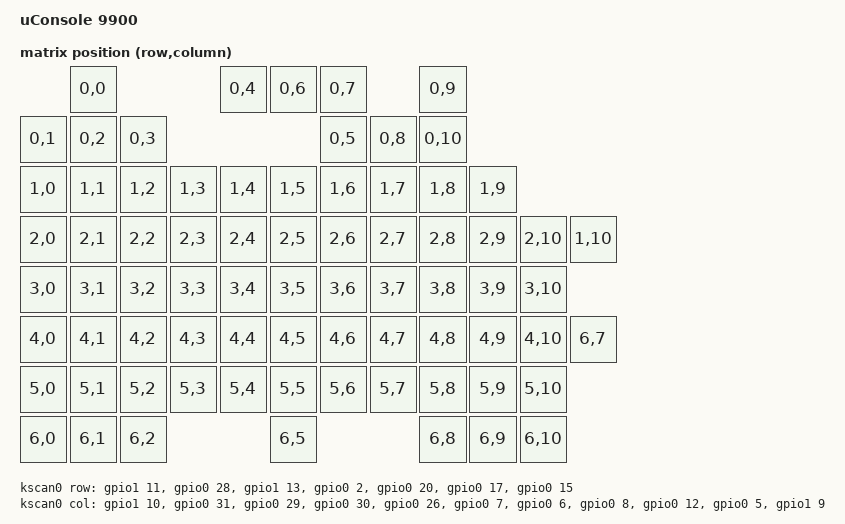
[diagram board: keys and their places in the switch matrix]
/*
 * Copyright (c) 2023 ZitaoTech
 * Copyright (c) 2026 The uc9900 contributors
 * SPDX-License-Identifier: MIT
 */

/dts-v1/;
#include <nordic/nrf52840_qiaa.dtsi>

#include <dt-bindings/led/led.h>
#include <dt-bindings/zmk/matrix_transform.h>
#include <dt-bindings/zmk/input_transform.h>
#include <input/processors.dtsi>

#include "bb9900-pinctrl.dtsi"
#include "bb9900-layouts.dtsi"

/ {
    model = "uConsole 9900";
    compatible = "zitaotech,bb9900";

    chosen {
        zephyr,code-partition = &code_partition;
        zephyr,sram = &sram0;
        zephyr,flash = &flash0;
        zmk,battery = &vbatt;
        zmk,kscan = &kscan0;
        zmk,physical-layout = &bb9900_layout;
        zmk,backlight = &backlight;
        zitaotech,layer-indicator = &indi_led_indicator;
        zitaotech,capslock-indicator = &indi_capslock_indicator;
    };

    // Trackpad backlight, also used as the Caps Lock indicator by the stock firmware.
    indi_capslock_indicator: pwmledo {
        compatible = "pwm-leds";
        pwm_led_0 {
            pwms = <&pwm2 0 PWM_USEC(20) PWM_POLARITY_NORMAL>;
        };
    };

    // Big-button backlight, used as the layer indicator.
    indi_led_indicator: pwmledt {
        compatible = "pwm-leds";
        pwm_led_0 {
            pwms = <&pwm0 0 PWM_USEC(20) PWM_POLARITY_NORMAL>;
        };
    };

    // Keyboard backlight.
    backlight: pwmleds {
        compatible = "pwm-leds";
        pwm_led_0 {
            pwms = <&pwm1 0 PWM_MSEC(10) PWM_POLARITY_NORMAL>;
        };
    };

    default_transform: keymap_transform_0 {
        compatible = "zmk,matrix-transform";
        columns = <11>;
        rows = <7>;
        map = <
         RC(0,0)               RC(0,4)    RC(0,6)    RC(0,7)  RC(0,9)
RC(0,1) RC(0,2)  RC(0,3)        RC(0,5)                RC(0,8)  RC(0,10)
RC(1,0)  RC(1,1) RC(1,2) RC(1,3) RC(1,4) RC(1,5) RC(1,6) RC(1,7) RC(1,8)  RC(1,9)
RC(2,0)  RC(2,1) RC(2,2) RC(2,3) RC(2,4) RC(2,5) RC(2,6) RC(2,7) RC(2,8)  RC(2,9) RC(2,10) RC(1,10)
RC(3,0)  RC(3,1) RC(3,2) RC(3,3) RC(3,4) RC(3,5) RC(3,6) RC(3,7) RC(3,8)  RC(3,9) RC(3,10)
RC(4,0)  RC(4,1) RC(4,2) RC(4,3) RC(4,4) RC(4,5) RC(4,6) RC(4,7) RC(4,8)  RC(4,9) RC(4,10) RC(6,7)
RC(5,0)  RC(5,1) RC(5,2) RC(5,3) RC(5,4) RC(5,5) RC(5,6) RC(5,7) RC(5,8)  RC(5,9) RC(5,10)
RC(6,0)  RC(6,1) RC(6,2)                 RC(6,5)                 RC(6,8)  RC(6,9) RC(6,10)
        >;
    };

    kscan0: kscan {
        compatible = "zmk,kscan-gpio-matrix";
        diode-direction = "col2row";
        row-gpios
            = <&gpio1 11 (GPIO_ACTIVE_HIGH | GPIO_PULL_DOWN)>
            , <&gpio0 28 (GPIO_ACTIVE_HIGH | GPIO_PULL_DOWN)>
            , <&gpio1 13 (GPIO_ACTIVE_HIGH | GPIO_PULL_DOWN)>
            , <&gpio0 2  (GPIO_ACTIVE_HIGH | GPIO_PULL_DOWN)>
            , <&gpio0 20 (GPIO_ACTIVE_HIGH | GPIO_PULL_DOWN)>
            , <&gpio0 17 (GPIO_ACTIVE_HIGH | GPIO_PULL_DOWN)>
            , <&gpio0 15 (GPIO_ACTIVE_HIGH | GPIO_PULL_DOWN)>
            ;
        col-gpios
            = <&gpio1 10 GPIO_ACTIVE_HIGH>
            , <&gpio0 31 GPIO_ACTIVE_HIGH>
            , <&gpio0 29 GPIO_ACTIVE_HIGH>
            , <&gpio0 30 GPIO_ACTIVE_HIGH>
            , <&gpio0 26 GPIO_ACTIVE_HIGH>
            , <&gpio0 7  GPIO_ACTIVE_HIGH>
            , <&gpio0 6  GPIO_ACTIVE_HIGH>
            , <&gpio0 8  GPIO_ACTIVE_HIGH>
            , <&gpio0 12 GPIO_ACTIVE_HIGH>
            , <&gpio0 5  GPIO_ACTIVE_HIGH>
            , <&gpio1 9  GPIO_ACTIVE_HIGH>
            ;
    };

    // Node name must match original "EXT_POWER" label to preserve user settings.
    ext_power_supply: EXT_POWER {
        compatible = "zmk,ext-power-generic";
        control-gpios = <&gpio0 13 GPIO_ACTIVE_LOW>;
    };

    vbatt: vbatt {
        compatible = "zmk,battery-voltage-divider";
        io-channels = <&adc 2>;
        output-ohms = <2000000>;
        full-ohms = <(2000000 + 820000)>;
    };

    // The stock firmware scrolls instead of moving the pointer while the host
    // reports Caps Lock or Scroll Lock. Kept for compatibility.
    scroll_mode: scroll_mode {
        compatible = "zitaotech,input-processor-scroll-mode";
        #input-processor-cells = <0>;
    };

    // The sensor is mounted rotated, so swap the axes. The 3/2 scaler keeps the
    // stock firmware's 1.5x pointer speed.
    trackpad_listener: trackpad_listener {
        compatible = "zmk,input-listener";
        device = <&trackpad>;
        input-processors = <&zip_xy_transform INPUT_TRANSFORM_XY_SWAP>,
                           <&scroll_mode>,
                           <&zip_xy_scaler 3 2>;
    };
};

// P0.09 and P0.10 drive the keyboard and trackpad backlights.
&uicr {
    nfct-pins-as-gpios;
};

&adc {
    status = "okay";
};

&gpiote {
    status = "okay";
};

&gpio0 {
    status = "okay";
};

&gpio1 {
    status = "okay";
};

&i2c0 {
    compatible = "nordic,nrf-twim";
    status = "okay";
    clock-frequency = <I2C_BITRATE_FAST>;
    pinctrl-0 = <&i2c0_default>;
    pinctrl-1 = <&i2c0_sleep>;
    pinctrl-names = "default", "sleep";

    trackpad: a320@3b {
        compatible = "avago,a320";
        reg = <0x3b>;
        polling-interval-ms = <10>;
        motion-polling-interval-ms = <4>;
        idle-polling-interval-ms = <25>;
        ext-power = <&ext_power_supply>;
    };
};

&pwm0 {
    status = "okay";
    pinctrl-0 = <&pwm0_default>;
    pinctrl-1 = <&pwm0_sleep>;
    pinctrl-names = "default", "sleep";
};

&pwm1 {
    status = "okay";
    pinctrl-0 = <&pwm1_default>;
    pinctrl-1 = <&pwm1_sleep>;
    pinctrl-names = "default", "sleep";
};

&pwm2 {
    status = "okay";
    pinctrl-0 = <&pwm2_default>;
    pinctrl-1 = <&pwm2_sleep>;
    pinctrl-names = "default", "sleep";
};

// The `studio-rpc-usb-uart` snippet adds the CDC-ACM node it needs under this
// label. Do not define a second CDC-ACM node here.
zephyr_udc0: &usbd {
    status = "okay";
};

&flash0 {
    /*
     * For more information, see:
     * http://docs.zephyrproject.org/latest/devices/dts/flash_partitions.html
     */
    partitions {
        compatible = "fixed-partitions";
        #address-cells = <1>;
        #size-cells = <1>;

        sd_partition: partition@0 {
            reg = <0x00000000 0x00001000>;
        };

        code_partition: partition@1000 {
            reg = <0x00001000 0x000d3000>;
        };

        /*
         * The flash starting at 0x000d4000 and ending at
         * 0x000f3fff is reserved for use by the application.
         */

        /*
         * Storage partition will be used by FCB/LittleFS/NVS
         * if enabled.
         */
        storage_partition: partition@d4000 {
            reg = <0x000d4000 0x00020000>;
        };

        boot_partition: partition@f4000 {
            reg = <0x000f4000 0x0000c000>;
        };
    };
};
